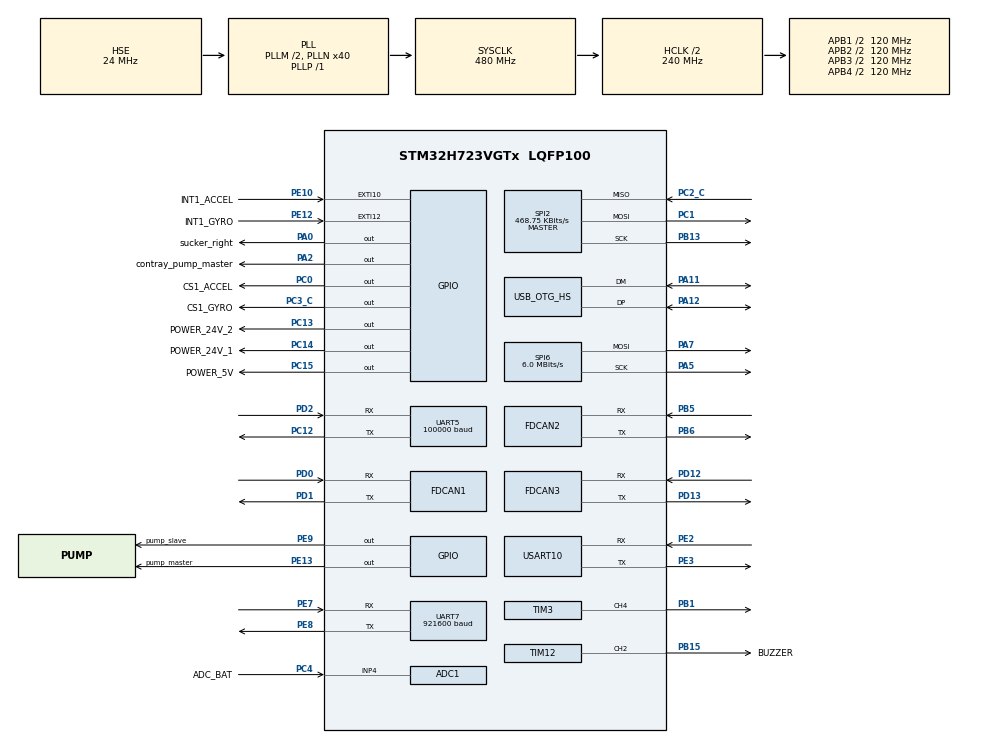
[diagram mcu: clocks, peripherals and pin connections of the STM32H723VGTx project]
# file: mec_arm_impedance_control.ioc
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ADC1.Channel-0\#ChannelRegularConversion=ADC_CHANNEL_4
ADC1.ClockPrescaler=ADC_CLOCK_ASYNC_DIV64
ADC1.ContinuousConvMode=ENABLE
ADC1.ConversionDataManagement=ADC_CONVERSIONDATA_DMA_CIRCULAR
ADC1.NbrOfConversionFlag=1
ADC1.OffsetNumber-0\#ChannelRegularConversion=ADC_OFFSET_NONE
ADC1.OffsetSignedSaturation-0\#ChannelRegularConversion=DISABLE
ADC1.Rank-0\#ChannelRegularConversion=1
ADC1.SamplingTime-0\#ChannelRegularConversion=ADC_SAMPLETIME_1CYCLE_5
ADC1.master=1
CORTEX_M7.AccessPermission-Cortex_Memory_Protection_Unit_Region0_Settings=MPU_REGION_PRIV_RO
CORTEX_M7.AccessPermission-Cortex_Memory_Protection_Unit_Region1_Settings=MPU_REGION_FULL_ACCESS
CORTEX_M7.BaseAddress-Cortex_Memory_Protection_Unit_Region0_Settings=0x08000000
CORTEX_M7.BaseAddress-Cortex_Memory_Protection_Unit_Region1_Settings=0x20000000
CORTEX_M7.Enable-Cortex_Memory_Protection_Unit_Region0_Settings=MPU_REGION_ENABLE
CORTEX_M7.Enable-Cortex_Memory_Protection_Unit_Region1_Settings=MPU_REGION_ENABLE
CORTEX_M7.IsCacheable-Cortex_Memory_Protection_Unit_Region0_Settings=MPU_ACCESS_CACHEABLE
CORTEX_M7.MPU_Control=__NULL
CORTEX_M7.Number-Cortex_Memory_Protection_Unit_Region1_Settings=MPU_REGION_NUMBER1
CORTEX_M7.Size-Cortex_Memory_Protection_Unit_Region0_Settings=MPU_REGION_SIZE_1MB
CORTEX_M7.Size-Cortex_Memory_Protection_Unit_Region1_Settings=MPU_REGION_SIZE_512MB
CORTEX_M7.SubRegionDisable-Cortex_Memory_Protection_Unit_Region1_Settings=0xAC
CORTEX_M7.TypeExtField-Cortex_Memory_Protection_Unit_Region1_Settings=MPU_TEX_LEVEL1
CORTEX_M7.default_mode_Activation=0
Dma.ADC1.2.Direction=DMA_PERIPH_TO_MEMORY
Dma.ADC1.2.EventEnable=DISABLE
Dma.ADC1.2.FIFOMode=DMA_FIFOMODE_DISABLE
Dma.ADC1.2.Instance=DMA1_Stream3
Dma.ADC1.2.MemDataAlignment=DMA_MDATAALIGN_HALFWORD
Dma.ADC1.2.MemInc=DMA_MINC_ENABLE
Dma.ADC1.2.Mode=DMA_NORMAL
Dma.ADC1.2.PeriphDataAlignment=DMA_PDATAALIGN_HALFWORD
Dma.ADC1.2.PeriphInc=DMA_PINC_DISABLE
Dma.ADC1.2.Polarity=HAL_DMAMUX_REQ_GEN_RISING
Dma.ADC1.2.Priority=DMA_PRIORITY_LOW
Dma.ADC1.2.RequestNumber=1
Dma.ADC1.2.SignalID=NONE
Dma.ADC1.2.SyncEnable=DISABLE
Dma.ADC1.2.SyncPolarity=HAL_DMAMUX_SYNC_NO_EVENT
Dma.ADC1.2.SyncRequestNumber=1
Dma.ADC1.2.SyncSignalID=NONE
Dma.Request0=SPI2_RX
Dma.Request1=SPI2_TX
Dma.Request2=ADC1
Dma.Request3=UART5_RX
Dma.Request4=UART7_RX
Dma.Request5=UART7_TX
Dma.Request6=USART10_RX
Dma.Request7=USART10_TX
Dma.SPI2_RX.0.Direction=DMA_PERIPH_TO_MEMORY
Dma.SPI2_RX.0.EventEnable=DISABLE
Dma.SPI2_RX.0.FIFOMode=DMA_FIFOMODE_DISABLE
Dma.SPI2_RX.0.Instance=DMA1_Stream7
Dma.SPI2_RX.0.MemDataAlignment=DMA_MDATAALIGN_BYTE
Dma.SPI2_RX.0.MemInc=DMA_MINC_ENABLE
Dma.SPI2_RX.0.Mode=DMA_NORMAL
Dma.SPI2_RX.0.PeriphDataAlignment=DMA_PDATAALIGN_BYTE
Dma.SPI2_RX.0.PeriphInc=DMA_PINC_DISABLE
Dma.SPI2_RX.0.Polarity=HAL_DMAMUX_REQ_GEN_RISING
Dma.SPI2_RX.0.Priority=DMA_PRIORITY_VERY_HIGH
Dma.SPI2_RX.0.RequestNumber=1
Dma.SPI2_RX.0.SignalID=NONE
Dma.SPI2_RX.0.SyncEnable=DISABLE
Dma.SPI2_RX.0.SyncPolarity=HAL_DMAMUX_SYNC_NO_EVENT
Dma.SPI2_RX.0.SyncRequestNumber=1
Dma.SPI2_RX.0.SyncSignalID=NONE
Dma.SPI2_TX.1.Direction=DMA_MEMORY_TO_PERIPH
Dma.SPI2_TX.1.EventEnable=DISABLE
Dma.SPI2_TX.1.FIFOMode=DMA_FIFOMODE_DISABLE
Dma.SPI2_TX.1.Instance=DMA1_Stream1
Dma.SPI2_TX.1.MemDataAlignment=DMA_MDATAALIGN_BYTE
Dma.SPI2_TX.1.MemInc=DMA_MINC_ENABLE
Dma.SPI2_TX.1.Mode=DMA_NORMAL
Dma.SPI2_TX.1.PeriphDataAlignment=DMA_PDATAALIGN_BYTE
Dma.SPI2_TX.1.PeriphInc=DMA_PINC_DISABLE
Dma.SPI2_TX.1.Polarity=HAL_DMAMUX_REQ_GEN_RISING
Dma.SPI2_TX.1.Priority=DMA_PRIORITY_HIGH
Dma.SPI2_TX.1.RequestNumber=1
Dma.SPI2_TX.1.SignalID=NONE
Dma.SPI2_TX.1.SyncEnable=DISABLE
Dma.SPI2_TX.1.SyncPolarity=HAL_DMAMUX_SYNC_NO_EVENT
Dma.SPI2_TX.1.SyncRequestNumber=1
Dma.SPI2_TX.1.SyncSignalID=NONE
Dma.UART5_RX.3.Direction=DMA_PERIPH_TO_MEMORY
Dma.UART5_RX.3.EventEnable=DISABLE
Dma.UART5_RX.3.FIFOMode=DMA_FIFOMODE_DISABLE
Dma.UART5_RX.3.Instance=DMA2_Stream3
Dma.UART5_RX.3.MemDataAlignment=DMA_MDATAALIGN_BYTE
Dma.UART5_RX.3.MemInc=DMA_MINC_ENABLE
Dma.UART5_RX.3.Mode=DMA_NORMAL
Dma.UART5_RX.3.PeriphDataAlignment=DMA_PDATAALIGN_BYTE
Dma.UART5_RX.3.PeriphInc=DMA_PINC_DISABLE
Dma.UART5_RX.3.Polarity=HAL_DMAMUX_REQ_GEN_RISING
Dma.UART5_RX.3.Priority=DMA_PRIORITY_VERY_HIGH
Dma.UART5_RX.3.RequestNumber=1
Dma.UART5_RX.3.SignalID=NONE
Dma.UART5_RX.3.SyncEnable=DISABLE
Dma.UART5_RX.3.SyncPolarity=HAL_DMAMUX_SYNC_NO_EVENT
Dma.UART5_RX.3.SyncRequestNumber=1
Dma.UART5_RX.3.SyncSignalID=NONE
Dma.UART7_RX.4.Direction=DMA_PERIPH_TO_MEMORY
Dma.UART7_RX.4.EventEnable=DISABLE
Dma.UART7_RX.4.FIFOMode=DMA_FIFOMODE_DISABLE
Dma.UART7_RX.4.Instance=DMA1_Stream0
Dma.UART7_RX.4.MemDataAlignment=DMA_MDATAALIGN_BYTE
Dma.UART7_RX.4.MemInc=DMA_MINC_ENABLE
Dma.UART7_RX.4.Mode=DMA_NORMAL
Dma.UART7_RX.4.PeriphDataAlignment=DMA_PDATAALIGN_BYTE
Dma.UART7_RX.4.PeriphInc=DMA_PINC_DISABLE
Dma.UART7_RX.4.Polarity=HAL_DMAMUX_REQ_GEN_RISING
Dma.UART7_RX.4.Priority=DMA_PRIORITY_HIGH
Dma.UART7_RX.4.RequestNumber=1
Dma.UART7_RX.4.SignalID=NONE
Dma.UART7_RX.4.SyncEnable=DISABLE
Dma.UART7_RX.4.SyncPolarity=HAL_DMAMUX_SYNC_NO_EVENT
Dma.UART7_RX.4.SyncRequestNumber=1
Dma.UART7_RX.4.SyncSignalID=NONE
Dma.UART7_TX.5.Direction=DMA_MEMORY_TO_PERIPH
Dma.UART7_TX.5.EventEnable=DISABLE
Dma.UART7_TX.5.FIFOMode=DMA_FIFOMODE_DISABLE
Dma.UART7_TX.5.Instance=DMA1_Stream4
Dma.UART7_TX.5.MemDataAlignment=DMA_MDATAALIGN_BYTE
Dma.UART7_TX.5.MemInc=DMA_MINC_ENABLE
Dma.UART7_TX.5.Mode=DMA_NORMAL
Dma.UART7_TX.5.PeriphDataAlignment=DMA_PDATAALIGN_BYTE
Dma.UART7_TX.5.PeriphInc=DMA_PINC_DISABLE
Dma.UART7_TX.5.Polarity=HAL_DMAMUX_REQ_GEN_RISING
Dma.UART7_TX.5.Priority=DMA_PRIORITY_HIGH
Dma.UART7_TX.5.RequestNumber=1
Dma.UART7_TX.5.SignalID=NONE
Dma.UART7_TX.5.SyncEnable=DISABLE
Dma.UART7_TX.5.SyncPolarity=HAL_DMAMUX_SYNC_NO_EVENT
Dma.UART7_TX.5.SyncRequestNumber=1
Dma.UART7_TX.5.SyncSignalID=NONE
Dma.USART10_RX.6.Direction=DMA_PERIPH_TO_MEMORY
Dma.USART10_RX.6.EventEnable=DISABLE
Dma.USART10_RX.6.FIFOMode=DMA_FIFOMODE_DISABLE
Dma.USART10_RX.6.Instance=DMA1_Stream5
Dma.USART10_RX.6.MemDataAlignment=DMA_MDATAALIGN_BYTE
Dma.USART10_RX.6.MemInc=DMA_MINC_ENABLE
Dma.USART10_RX.6.Mode=DMA_NORMAL
Dma.USART10_RX.6.PeriphDataAlignment=DMA_PDATAALIGN_BYTE
Dma.USART10_RX.6.PeriphInc=DMA_PINC_DISABLE
Dma.USART10_RX.6.Polarity=HAL_DMAMUX_REQ_GEN_RISING
Dma.USART10_RX.6.Priority=DMA_PRIORITY_LOW
Dma.USART10_RX.6.RequestNumber=1
Dma.USART10_RX.6.SignalID=NONE
Dma.USART10_RX.6.SyncEnable=DISABLE
Dma.USART10_RX.6.SyncPolarity=HAL_DMAMUX_SYNC_NO_EVENT
Dma.USART10_RX.6.SyncRequestNumber=1
Dma.USART10_RX.6.SyncSignalID=NONE
Dma.USART10_TX.7.Direction=DMA_MEMORY_TO_PERIPH
Dma.USART10_TX.7.EventEnable=DISABLE
Dma.USART10_TX.7.FIFOMode=DMA_FIFOMODE_DISABLE
Dma.USART10_TX.7.Instance=DMA1_Stream6
Dma.USART10_TX.7.MemDataAlignment=DMA_MDATAALIGN_BYTE
Dma.USART10_TX.7.MemInc=DMA_MINC_ENABLE
Dma.USART10_TX.7.Mode=DMA_NORMAL
Dma.USART10_TX.7.PeriphDataAlignment=DMA_PDATAALIGN_BYTE
Dma.USART10_TX.7.PeriphInc=DMA_PINC_DISABLE
Dma.USART10_TX.7.Polarity=HAL_DMAMUX_REQ_GEN_RISING
Dma.USART10_TX.7.Priority=DMA_PRIORITY_LOW
Dma.USART10_TX.7.RequestNumber=1
Dma.USART10_TX.7.SignalID=NONE
Dma.USART10_TX.7.SyncEnable=DISABLE
Dma.USART10_TX.7.SyncPolarity=HAL_DMAMUX_SYNC_NO_EVENT
Dma.USART10_TX.7.SyncRequestNumber=1
Dma.USART10_TX.7.SyncSignalID=NONE
FDCAN1.CalculateBaudRateNominal=1000000
FDCAN1.CalculateTimeBitNominal=1000
FDCAN1.CalculateTimeQuantumNominal=25.0
FDCAN1.DataPrescaler=3
FDCAN1.DataSyncJumpWidth=10
FDCAN1.DataTimeSeg1=29
FDCAN1.DataTimeSeg2=10
FDCAN1.NominalPrescaler=3
FDCAN1.NominalSyncJumpWidth=10
FDCAN1.NominalTimeSeg1=29
FDCAN1.NominalTimeSeg2=10
FDCAN1.ProtocolException=ENABLE
FDCAN1.RxFifo0ElmtSize=FDCAN_DATA_BYTES_8
FDCAN1.RxFifo0ElmtsNbr=4
FDCAN1.RxFifo1ElmtsNbr=4
FDCAN1.StdFiltersNbr=14
FDCAN1.TxElmtSize=FDCAN_DATA_BYTES_8
FDCAN1.TxFifoQueueElmtsNbr=8
FDCAN2.CalculateBaudRateNominal=1000000
FDCAN2.CalculateTimeBitNominal=1000
FDCAN2.CalculateTimeQuantumNominal=25.0
FDCAN2.DataPrescaler=3
FDCAN2.DataSyncJumpWidth=10
FDCAN2.DataTimeSeg1=29
FDCAN2.DataTimeSeg2=10
FDCAN2.MessageRAMOffset=0x406
FDCAN2.NominalPrescaler=3
FDCAN2.NominalSyncJumpWidth=10
FDCAN2.NominalTimeSeg1=29
FDCAN2.NominalTimeSeg2=10
FDCAN2.ProtocolException=ENABLE
FDCAN2.RxFifo0ElmtSize=FDCAN_DATA_BYTES_8
FDCAN2.RxFifo0ElmtsNbr=4
FDCAN2.RxFifo1ElmtSize=FDCAN_DATA_BYTES_8
FDCAN2.RxFifo1ElmtsNbr=4
FDCAN2.StdFiltersNbr=14
FDCAN2.TxElmtSize=FDCAN_DATA_BYTES_8
FDCAN2.TxFifoQueueElmtsNbr=4
FDCAN3.CalculateBaudRateNominal=1000000
FDCAN3.CalculateTimeBitNominal=1000
FDCAN3.CalculateTimeQuantumNominal=25.0
FDCAN3.DataPrescaler=3
FDCAN3.DataSyncJumpWidth=10
FDCAN3.DataTimeSeg1=29
FDCAN3.DataTimeSeg2=10
FDCAN3.MessageRAMOffset=0x812
FDCAN3.NominalPrescaler=3
FDCAN3.NominalSyncJumpWidth=10
FDCAN3.NominalTimeSeg1=29
FDCAN3.NominalTimeSeg2=10
FDCAN3.ProtocolException=ENABLE
FDCAN3.RxFifo0ElmtSize=FDCAN_DATA_BYTES_8
FDCAN3.RxFifo0ElmtsNbr=4
FDCAN3.RxFifo1ElmtSize=FDCAN_DATA_BYTES_8
FDCAN3.RxFifo1ElmtsNbr=4
FDCAN3.StdFiltersNbr=14
FDCAN3.TxElmtSize=FDCAN_DATA_BYTES_8
FDCAN3.TxFifoQueueElmtsNbr=4
FREERTOS.INCLUDE_eTaskGetState=1
FREERTOS.INCLUDE_pcTaskGetTaskName=1
FREERTOS.INCLUDE_uxTaskGetStackHighWaterMark=1
FREERTOS.INCLUDE_uxTaskGetStackHighWaterMark2=1
FREERTOS.INCLUDE_vTaskCleanUpResources=1
FREERTOS.INCLUDE_vTaskDelayUntil=1
FREERTOS.INCLUDE_xEventGroupSetBitFromISR=1
FREERTOS.INCLUDE_xQueueGetMutexHolder=1
FREERTOS.INCLUDE_xSemaphoreGetMutexHolder=1
FREERTOS.INCLUDE_xTaskAbortDelay=1
FREERTOS.INCLUDE_xTaskGetCurrentTaskHandle=1
FREERTOS.INCLUDE_xTaskGetHandle=1
FREERTOS.INCLUDE_xTimerPendFunctionCall=1
FREERTOS.Tasks01=test,0,128,test_task,As weak,NULL,Dynamic,NULL,NULL
FREERTOS.configENABLE_FPU=1
FREERTOS.configTOTAL_HEAP_SIZE=49152
FREERTOS.configUSE_TIMERS=1
Mcu.Family=STM32H7
Mcu.Name=STM32H723VGTx
Mcu.Package=LQFP100
NVIC.DMA1_Stream0_IRQn=true\:5\:0\:false\:false\:true\:true\:false\:true\:true
NVIC.DMA1_Stream1_IRQn=true\:5\:0\:false\:false\:false\:true\:false\:true\:true
NVIC.DMA1_Stream3_IRQn=true\:5\:0\:false\:false\:true\:true\:false\:true\:true
NVIC.DMA1_Stream4_IRQn=true\:5\:0\:false\:false\:true\:true\:false\:true\:true
NVIC.DMA1_Stream5_IRQn=true\:5\:0\:false\:false\:true\:true\:false\:true\:true
NVIC.DMA1_Stream6_IRQn=true\:5\:0\:false\:false\:true\:true\:false\:true\:true
NVIC.DMA1_Stream7_IRQn=true\:5\:0\:false\:false\:true\:true\:false\:true\:true
NVIC.DMA2_Stream3_IRQn=true\:5\:0\:false\:false\:true\:true\:false\:true\:true
NVIC.EXTI15_10_IRQn=true\:5\:0\:false\:false\:true\:true\:true\:true\:true
NVIC.FDCAN1_IT0_IRQn=true\:6\:0\:true\:false\:true\:true\:true\:true\:true
NVIC.FDCAN1_IT1_IRQn=true\:5\:0\:false\:false\:true\:true\:true\:true\:true
NVIC.FDCAN2_IT0_IRQn=true\:6\:0\:true\:false\:true\:true\:true\:true\:true
NVIC.FDCAN2_IT1_IRQn=true\:5\:0\:false\:false\:true\:true\:true\:true\:true
NVIC.FDCAN3_IT0_IRQn=true\:6\:0\:true\:false\:true\:true\:true\:true\:true
NVIC.FDCAN3_IT1_IRQn=true\:5\:0\:false\:false\:true\:true\:true\:true\:true
NVIC.OTG_HS_IRQn=true\:5\:0\:false\:false\:true\:true\:true\:true\:true
NVIC.PriorityGroup=NVIC_PRIORITYGROUP_4
NVIC.SPI2_IRQn=true\:5\:0\:false\:false\:true\:true\:false\:true\:true
NVIC.TIM23_IRQn=true\:15\:0\:false\:false\:true\:false\:false\:true\:true
NVIC.TimeBase=TIM23_IRQn
NVIC.TimeBaseIP=TIM23
NVIC.UART5_IRQn=true\:5\:0\:true\:false\:true\:false\:true\:true\:true
NVIC.UART7_IRQn=true\:5\:0\:true\:false\:true\:true\:true\:true\:true
NVIC.USART10_IRQn=true\:5\:0\:true\:false\:true\:true\:true\:true\:true
PA0.GPIO_Label=sucker_right
PA0.Signal=GPIO_Output
PA11.Mode=Device_Only_FS
PA11.Signal=USB_OTG_HS_DM
PA12.Mode=Device_Only_FS
PA12.Signal=USB_OTG_HS_DP
PA13(JTMS/SWDIO).Mode=Serial_Wire
PA13(JTMS/SWDIO).Signal=DEBUG_JTMS-SWDIO
PA14(JTCK/SWCLK).Mode=Serial_Wire
PA14(JTCK/SWCLK).Signal=DEBUG_JTCK-SWCLK
PA2.GPIO_Label=contray_pump_master
PA2.Signal=GPIO_Output
PA5.GPIO_Speed=GPIO_SPEED_FREQ_VERY_HIGH
PA5.Mode=TX_Only_Simplex_Unidirect_Master
PA5.Signal=SPI6_SCK
PA7.GPIO_Speed=GPIO_SPEED_FREQ_VERY_HIGH
PA7.Mode=TX_Only_Simplex_Unidirect_Master
PA7.Signal=SPI6_MOSI
PB1.GPIO_PuPd=GPIO_PULLUP
PB1.GPIO_Speed=GPIO_SPEED_FREQ_HIGH
PB1.Signal=S_TIM3_CH4
PB13.GPIO_PuPd=GPIO_PULLUP
PB13.GPIO_Speed=GPIO_SPEED_FREQ_VERY_HIGH
PB13.Mode=Full_Duplex_Master
PB13.Signal=SPI2_SCK
PB15.GPIO_Label=BUZZER
PB15.Signal=S_TIM12_CH2
PB5.GPIO_Speed=GPIO_SPEED_FREQ_VERY_HIGH
PB5.Mode=FDCAN_Activate
PB5.Signal=FDCAN2_RX
PB6.GPIO_Speed=GPIO_SPEED_FREQ_VERY_HIGH
PB6.Mode=FDCAN_Activate
PB6.Signal=FDCAN2_TX
PC0.GPIO_Label=CS1_ACCEL
PC0.GPIO_PuPd=GPIO_PULLUP
PC0.GPIO_Speed=GPIO_SPEED_FREQ_HIGH
PC0.PinState=GPIO_PIN_RESET
PC0.Signal=GPIO_Output
PC1.GPIO_PuPd=GPIO_PULLUP
PC1.GPIO_Speed=GPIO_SPEED_FREQ_VERY_HIGH
PC1.Mode=Full_Duplex_Master
PC1.Signal=SPI2_MOSI
PC12.GPIO_Speed=GPIO_SPEED_FREQ_LOW
PC12.Mode=Asynchronous
PC12.Signal=UART5_TX
PC13.GPIO_Label=POWER_24V_2
PC13.GPIO_PuPd=GPIO_NOPULL
PC13.PinState=GPIO_PIN_RESET
PC13.Signal=GPIO_Output
PC14-OSC32_IN.GPIO_Label=POWER_24V_1
PC14-OSC32_IN.PinState=GPIO_PIN_RESET
PC14-OSC32_IN.Signal=GPIO_Output
PC15-OSC32_OUT.GPIO_Label=POWER_5V
PC15-OSC32_OUT.PinState=GPIO_PIN_RESET
PC15-OSC32_OUT.Signal=GPIO_Output
PC2_C.GPIO_PuPd=GPIO_PULLUP
PC2_C.GPIO_Speed=GPIO_SPEED_FREQ_VERY_HIGH
PC2_C.Mode=Full_Duplex_Master
PC2_C.Signal=SPI2_MISO
PC3_C.GPIO_Label=CS1_GYRO
PC3_C.GPIO_PuPd=GPIO_PULLUP
PC3_C.GPIO_Speed=GPIO_SPEED_FREQ_HIGH
PC3_C.PinState=GPIO_PIN_RESET
PC3_C.Signal=GPIO_Output
PC4.GPIO_Label=ADC_BAT
PC4.Signal=ADCx_INP4
PD0.GPIO_Speed=GPIO_SPEED_FREQ_VERY_HIGH
PD0.Mode=FDCAN_Activate
PD0.Signal=FDCAN1_RX
PD1.GPIO_Speed=GPIO_SPEED_FREQ_VERY_HIGH
PD1.Mode=FDCAN_Activate
PD1.Signal=FDCAN1_TX
PD12.GPIO_Speed=GPIO_SPEED_FREQ_VERY_HIGH
PD12.Mode=FDCAN_Activate
PD12.Signal=FDCAN3_RX
PD13.GPIO_Speed=GPIO_SPEED_FREQ_VERY_HIGH
PD13.Mode=FDCAN_Activate
PD13.Signal=FDCAN3_TX
PD2.Mode=Asynchronous
PD2.Signal=UART5_RX
PE10.GPIO_Label=INT1_ACCEL
PE10.GPIO_ModeDefaultEXTI=GPIO_MODE_IT_FALLING
PE10.GPIO_PuPd=GPIO_PULLUP
PE10.Signal=GPXTI10
PE12.GPIO_Label=INT1_GYRO
PE12.GPIO_ModeDefaultEXTI=GPIO_MODE_IT_FALLING
PE12.GPIO_PuPd=GPIO_PULLUP
PE12.Signal=GPXTI12
PE13.GPIO_Label=pump_master
PE13.Signal=GPIO_Output
PE2.Mode=Asynchronous
PE2.Signal=USART10_RX
PE3.Mode=Asynchronous
PE3.Signal=USART10_TX
PE7.Mode=Asynchronous
PE7.Signal=UART7_RX
PE8.Mode=Asynchronous
PE8.Signal=UART7_TX
PE9.GPIO_Label=pump_slave
PE9.Signal=GPIO_Output
PH0-OSC_IN.Mode=HSE-External-Oscillator
PH0-OSC_IN.Signal=RCC_OSC_IN
PH1-OSC_OUT.Mode=HSE-External-Oscillator
PH1-OSC_OUT.Signal=RCC_OSC_OUT
ProjectManager.HeapSize=0x2000
ProjectManager.StackSize=0x2000
ProjectManager.TargetToolchain=CMake
RCC.ADCFreq_Value=96000000
RCC.APB1Freq_Value=120000000
RCC.APB2Freq_Value=120000000
RCC.APB3Freq_Value=120000000
RCC.APB4Freq_Value=120000000
RCC.CortexFreq_Value=480000000
RCC.D1PPRE=RCC_APB3_DIV2
RCC.D2PPRE1=RCC_APB1_DIV2
RCC.D2PPRE2=RCC_APB2_DIV2
RCC.D3PPRE=RCC_APB4_DIV2
RCC.DIVM1=2
RCC.DIVM2=2
RCC.DIVN1=40
RCC.DIVN2=16
RCC.DIVP1=1
RCC.DIVQ1=4
RCC.HCLKFreq_Value=240000000
RCC.HPRE=RCC_HCLK_DIV2
RCC.HSE_VALUE=24000000
RCC.PLLFRACN=0
RCC.PLLSourceVirtual=RCC_PLLSOURCE_HSE
RCC.SPI6CLockSelection=RCC_SPI6CLKSOURCE_HSE
RCC.SYSCLKFreq_VALUE=480000000
RCC.SYSCLKSource=RCC_SYSCLKSOURCE_PLLCLK
RCC.USBFreq_Value=120000000
SH.ADCx_INP4.0=ADC1_INP4,IN4-Single-Ended
SH.S_TIM12_CH2.0=TIM12_CH2,PWM Generation2 CH2
SH.S_TIM3_CH4.0=TIM3_CH4,PWM Generation4 CH4
SPI2.BaudRatePrescaler=SPI_BAUDRATEPRESCALER_256
SPI2.CLKPhase=SPI_PHASE_2EDGE
SPI2.CLKPolarity=SPI_POLARITY_HIGH
SPI2.CalculateBaudRate=468.75 KBits/s
SPI2.DataSize=SPI_DATASIZE_8BIT
SPI2.Direction=SPI_DIRECTION_2LINES
SPI2.Mode=SPI_MODE_MASTER
SPI2.VirtualType=VM_MASTER
SPI6.BaudRatePrescaler=SPI_BAUDRATEPRESCALER_4
SPI6.CLKPhase=SPI_PHASE_2EDGE
SPI6.CalculateBaudRate=6.0 MBits/s
SPI6.DataSize=SPI_DATASIZE_8BIT
SPI6.Direction=SPI_DIRECTION_2LINES_TXONLY
SPI6.Mode=SPI_MODE_MASTER
SPI6.VirtualType=VM_MASTER
STMicroelectronics.X-CUBE-ALGOBUILD.1.4.0.LibraryCcDSPOoLibraryJjDSPOoLibrary=true
TIM12.Channel-PWM\ Generation2\ CH2=TIM_CHANNEL_2
TIM12.Period=2000-1
TIM12.Prescaler=24-1
TIM3.Channel-PWM\ Generation4\ CH4=TIM_CHANNEL_4
UART5.BaudRate=100000
UART5.Mode=MODE_TX_RX
UART5.Parity=PARITY_EVEN
UART5.StopBits=UART_STOPBITS_2
UART5.WordLength=WORDLENGTH_9B
UART7.BaudRate=921600
USART10.VirtualMode=VM_ASYNC
USB_OTG_HS.VirtualMode-Device_Only_FS=Device_Only_FS
VP_CRC_VS_CRC.Mode=CRC_Activate
VP_FREERTOS_VS_CMSIS_V1.Mode=CMSIS_V1
VP_MEMORYMAP_VS_MEMORYMAP.Mode=CurAppReg
VP_STMicroelectronics.X-CUBE-ALGOBUILD_VS_DSPOoLibraryJjLibrary_1.4.0_1.4.0.Mode=DSPOoLibraryJjLibrary
VP_SYS_VS_tim23.Mode=TIM23
VP_TIM12_VS_ClockSourceINT.Mode=Internal
VP_TIM3_VS_ClockSourceINT.Mode=Internal
board=custom

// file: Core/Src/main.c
/* USER CODE BEGIN Header */
/**
  ******************************************************************************
  * @file           : main.c
  * @brief          : Main program body
  ******************************************************************************
  * @attention
  *
  * Copyright (c) 2024 STMicroelectronics.
  * All rights reserved.
  *
  * This software is licensed under terms that can be found in the LICENSE file
  * in the root directory of this software component.
  * If no LICENSE file comes with this software, it is provided AS-IS.
  *
  ******************************************************************************
  */
/* USER CODE END Header */
#include "main.h"
#include "cmsis_os.h"
#include "adc.h"
#include "crc.h"
#include "dma.h"
#include "fdcan.h"
#include "spi.h"
#include "tim.h"
#include "usart.h"
#include "usb_otg.h"
#include "gpio.h"

void SystemClock_Config(void);
void MX_FREERTOS_Init(void);

int main(void)
{

  /* MCU Configuration--------------------------------------------------------*/

  /* Reset of all peripherals, Initializes the Flash interface and the Systick. */
  HAL_Init();

  /* Configure the system clock */
  SystemClock_Config();

  /* Initialize all configured peripherals */
  MX_GPIO_Init();
  MX_DMA_Init();
  MX_SPI2_Init();
  MX_SPI6_Init();
  MX_TIM3_Init();
  MX_TIM12_Init();
  MX_ADC1_Init();
  MX_UART5_Init();
  MX_FDCAN1_Init();
  MX_FDCAN2_Init();
  MX_FDCAN3_Init();
  MX_UART7_Init();
  MX_CRC_Init();
  MX_USART10_UART_Init();
  MX_USB_OTG_HS_PCD_Init();

  /* Call init function for freertos objects (in cmsis_os2.c) */
  MX_FREERTOS_Init();

  /* Start scheduler */
  osKernelStart();

  /* We should never get here as control is now taken by the scheduler */

  /* Infinite loop */
    while (1)
    {

    }
}

void SystemClock_Config(void)
{
  RCC_OscInitTypeDef RCC_OscInitStruct = {0};
  RCC_ClkInitTypeDef RCC_ClkInitStruct = {0};

  /** Supply configuration update enable
  */
  HAL_PWREx_ConfigSupply(PWR_LDO_SUPPLY);

  /** Configure the main internal regulator output voltage
  */
  __HAL_PWR_VOLTAGESCALING_CONFIG(PWR_REGULATOR_VOLTAGE_SCALE0);

  while(!__HAL_PWR_GET_FLAG(PWR_FLAG_VOSRDY)) {}

  /** Initializes the RCC Oscillators according to the specified parameters
  * in the RCC_OscInitTypeDef structure.
  */
  RCC_OscInitStruct.OscillatorType = RCC_OSCILLATORTYPE_HSE;
  RCC_OscInitStruct.HSEState = RCC_HSE_ON;
  RCC_OscInitStruct.PLL.PLLState = RCC_PLL_ON;
  RCC_OscInitStruct.PLL.PLLSource = RCC_PLLSOURCE_HSE;
  RCC_OscInitStruct.PLL.PLLM = 2;
  RCC_OscInitStruct.PLL.PLLN = 40;
  RCC_OscInitStruct.PLL.PLLP = 1;
  RCC_OscInitStruct.PLL.PLLQ = 4;
  RCC_OscInitStruct.PLL.PLLR = 2;
  RCC_OscInitStruct.PLL.PLLRGE = RCC_PLL1VCIRANGE_3;
  RCC_OscInitStruct.PLL.PLLVCOSEL = RCC_PLL1VCOWIDE;
  RCC_OscInitStruct.PLL.PLLFRACN = 0;
  if (HAL_RCC_OscConfig(&RCC_OscInitStruct) != HAL_OK)
  {
    Error_Handler();
  }

  /** Initializes the CPU, AHB and APB buses clocks
  */
  RCC_ClkInitStruct.ClockType = RCC_CLOCKTYPE_HCLK|RCC_CLOCKTYPE_SYSCLK
                              |RCC_CLOCKTYPE_PCLK1|RCC_CLOCKTYPE_PCLK2
                              |RCC_CLOCKTYPE_D3PCLK1|RCC_CLOCKTYPE_D1PCLK1;
  RCC_ClkInitStruct.SYSCLKSource = RCC_SYSCLKSOURCE_PLLCLK;
  RCC_ClkInitStruct.SYSCLKDivider = RCC_SYSCLK_DIV1;
  RCC_ClkInitStruct.AHBCLKDivider = RCC_HCLK_DIV2;
  RCC_ClkInitStruct.APB3CLKDivider = RCC_APB3_DIV2;
  RCC_ClkInitStruct.APB1CLKDivider = RCC_APB1_DIV2;
  RCC_ClkInitStruct.APB2CLKDivider = RCC_APB2_DIV2;
  RCC_ClkInitStruct.APB4CLKDivider = RCC_APB4_DIV2;

  if (HAL_RCC_ClockConfig(&RCC_ClkInitStruct, FLASH_LATENCY_3) != HAL_OK)
  {
    Error_Handler();
  }
}

void HAL_TIM_PeriodElapsedCallback(TIM_HandleTypeDef *htim)
{
  if (htim->Instance == TIM23)
  {
    HAL_IncTick();
  }
}

void Error_Handler(void)
{
    __disable_irq();
    while (1)
    {
    }
}

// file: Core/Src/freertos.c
/* USER CODE BEGIN Header */
/**
  ******************************************************************************
  * File Name          : freertos.c
  * Description        : Code for freertos applications
  ******************************************************************************
  * @attention
  *
  * Copyright (c) 2024 STMicroelectronics.
  * All rights reserved.
  *
  * This software is licensed under terms that can be found in the LICENSE file
  * in the root directory of this software component.
  * If no LICENSE file comes with this software, it is provided AS-IS.
  *
  ******************************************************************************
  */
/* USER CODE END Header */

#include "FreeRTOS.h"
#include "task.h"
#include "main.h"
#include "cmsis_os.h"

/* USER CODE BEGIN Includes */
#include "spi.h"

#include "queue.h"
#include "semphr.h"
#include "event_groups.h"

#include "HAL_FDCAN.h"
#include "Board_Delay.h"
#include "Board_DWT.h"

#include "Dev_BMI088_Driver.h"
#include "Dev_Remote_Control.h"
#include "Dev_FDCAN.h"
#include "Dev_Custom.h"

#include "App_Buzzer_Task.h"
#include "App_Calibrate_Task.h"
#include "App_Chassis_Task.h"
#include "App_Detect_Task.h"
#include "App_Mechanical_Arm_Task.h"
#include "App_INS_Task.h"
#include "App_LED_RGB_Flow_Task.h"
#include "App_Custom_Task.h"
#include "App_CV_Control.h"
#include "App_Referee_Task.h"
#include "App_UI_Task.h"

#include "APL_RC_Hub.h"
#include "APL_MecArm.h"
/* USER CODE END Includes */

osThreadId testHandle;

void test_task(void const * argument);

void MX_FREERTOS_Init(void); /* (MISRA C 2004 rule 8.1) */

/* GetIdleTaskMemory prototype (linked to static allocation support) */
void vApplicationGetIdleTaskMemory( StaticTask_t **ppxIdleTaskTCBBuffer, StackType_t **ppxIdleTaskStackBuffer, uint32_t *pulIdleTaskStackSize );

/* GetTimerTaskMemory prototype (linked to static allocation support) */
void vApplicationGetTimerTaskMemory( StaticTask_t **ppxTimerTaskTCBBuffer, StackType_t **ppxTimerTaskStackBuffer, uint32_t *pulTimerTaskStackSize );

/* USER CODE BEGIN GET_IDLE_TASK_MEMORY */
static StaticTask_t xIdleTaskTCBBuffer;
static StackType_t xIdleStack[configMINIMAL_STACK_SIZE];

void vApplicationGetIdleTaskMemory( StaticTask_t **ppxIdleTaskTCBBuffer, StackType_t **ppxIdleTaskStackBuffer, uint32_t *pulIdleTaskStackSize )
{
    *ppxIdleTaskTCBBuffer = &xIdleTaskTCBBuffer;
    *ppxIdleTaskStackBuffer = &xIdleStack[0];
    *pulIdleTaskStackSize = configMINIMAL_STACK_SIZE;
    /* place for user code */
}
/* USER CODE END GET_IDLE_TASK_MEMORY */

/* USER CODE BEGIN GET_TIMER_TASK_MEMORY */
static StaticTask_t xTimerTaskTCBBuffer;
static StackType_t xTimerStack[configTIMER_TASK_STACK_DEPTH];

void vApplicationGetTimerTaskMemory( StaticTask_t **ppxTimerTaskTCBBuffer, StackType_t **ppxTimerTaskStackBuffer, uint32_t *pulTimerTaskStackSize )
{
    *ppxTimerTaskTCBBuffer = &xTimerTaskTCBBuffer;
    *ppxTimerTaskStackBuffer = &xTimerStack[0];
    *pulTimerTaskStackSize = configTIMER_TASK_STACK_DEPTH;
    /* place for user code */
}
/* USER CODE END GET_TIMER_TASK_MEMORY */

void MX_FREERTOS_Init(void) {
  /* USER CODE BEGIN Init */

    // 初始化FDCAN
    FDCAN_Filter_Init();

//    DWT_Init(480);
//    BMI088_Init(&hspi2, 0);
//    // 电机初始化
//    MIT_Motor_Init();
//#if _CHASSIS_RESET_ID_
//    FDCAN_Cmd_Chassis_Reset_ID();
//#endif
////    Cali_Param_Init();
//
//    Remote_Control_Init();
////    Custom_Control_Init();
////    CV_Control_Init();
//    Referee_Init();
//
//
//    /* 上电默认关闭气泵 */
//    pump_master_off;
//    pump_slave_off;
//    sucker_left_off;
//    sucker_right_off;

  /* USER CODE END Init */

  /* Create the thread(s) */
  /* definition and creation of test */
  osThreadDef(test, test_task, osPriorityNormal, 0, 128);
  testHandle = osThreadCreate(osThread(test), NULL);

  /* USER CODE BEGIN RTOS_THREADS */
  /* add threads, ... */

  // 创建机械臂线程
    xTaskCreate(_Thread_MecArm_, "_Thread_MecArm_", 512, NULL, osPriorityHigh, NULL);

//   FDCAN_Cmd_Chassis_Reset_ID();

    /* 创建检测任务 */
//    xTaskCreate(Detect_Task, "Detect_Task", 512, NULL, osPriorityHigh, NULL);
//
//    /* 创建操作任务 */
//    xTaskCreate(Operator_Task, "Operator_Task", 128, NULL, osPriorityHigh+1, NULL);

    /* 创建视觉控制任务 */
//    xTaskCreate(CV_Control_Task, "CV_Control_Task", 512, NULL, osPriorityNormal, NULL);

    /* 创键与自定义控制器通信任务 */
//    xTaskCreate(Custom_Controller_Task, "Custom_Controller_Task", 256, NULL, osPriorityAboveNormal, NULL);

//    /* 创建机械臂小关节任务 */
//    xTaskCreate(Mechanical_Arm_Task, "Mechanical_Arm_Task", 512, NULL, osPriorityHigh, NULL);
//
//    /* 创建底盘任务 */
//    xTaskCreate(Chassis_Task, "Chassis_Task", 512, NULL, osPriorityNormal, NULL);
//
//    /* 创建云台/机械臂大关节任务 */
//    xTaskCreate(Gimbal_Task, "Gimbal_Task", 512, NULL, osPriorityHigh, NULL);
//
//    /* 创建IMU解算任务 */
//    xTaskCreate(INS_Task, "INS_Task", 1024, NULL, osPriorityRealtime, NULL);
//
//    /* 创建校准任务 */
//    xTaskCreate(Calibrate_Task, "Calibrate_Task", 512, NULL, osPriorityNormal, NULL);
//
//    /* 创建LED闪烁任务 */
//    xTaskCreate(LED_RGB_Flow_Task, "LED_RGB_Flow_Task", 256, NULL, osPriorityNormal, NULL);
//
//    /* 创建蜂鸣器报警任务 */
//    xTaskCreate(Buzzer_Task, "Buzzer_Task", 128, NULL, osPriorityNormal, NULL);
//
//    /* 创建裁判系统数据解析任务 */
//    xTaskCreate(Referee_Task, "Referee_Task", 512, NULL, osPriorityNormal, NULL);
//
//    /* 创建UI任务 */
//    xTaskCreate(UI_Task, "UI_Task", 256, NULL, osPriorityAboveNormal, NULL);
//
    /* 创建数据解析任务 */
    xTaskCreate(_Thread_RC_Hub_, "_Thread_RC_Hub_", 256, NULL, osPriorityHigh, NULL);

//    /* 创建电压采样任务 */
//    xTaskCreate(Battery_Voltage_Task, "Battery_Voltage_Task", 128, NULL, osPriorityNormal, NULL);

  /* USER CODE END RTOS_THREADS */

}

__weak void test_task(void const * argument)
{
    for(;;)
    {
        osDelay(1);
    }
}
